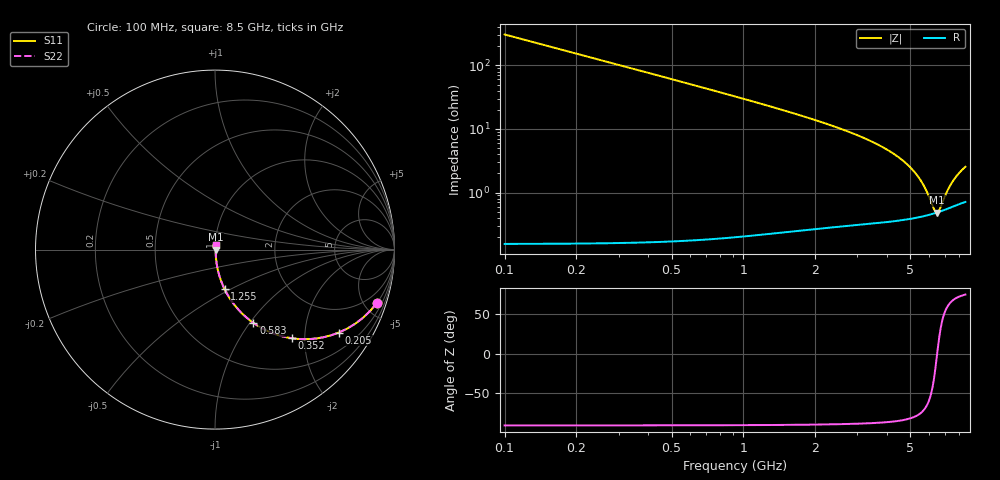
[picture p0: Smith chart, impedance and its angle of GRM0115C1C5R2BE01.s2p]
!Murata Part Number: GRM0115C1C5R2BE01
!These Parameters are Measured in Series Mode Connection
!Data Generated on Mar 30, 2021
!  o--ll--o
!Port1  Port2
!  o------o
!Operation Temp=25[degC], DC Bias Voltage=0[V]
!Freq. Start=100[MHz] Stop=9[GHz] 401[Steps]
# Hz S RI R 50
!Freq.(Hz) S11(Real) S11(Imag) S21(Real) S21(Imag) S12(Real) S12(Imag) S22(Real) S22(Imag)
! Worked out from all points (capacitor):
!   401 points, 100 MHz to 8.5 GHz, reference 50 ohm
!   read as one part in series: C = 5.2 pF near 142 MHz
!   lowest |Z| = 485 mohm at 6.463 GHz (marker M1)
!   series resonance near 6.476 GHz, so ESL is about 120 pH
!   S11 on the Smith chart (normalised r, x): 100 MHz: 1.00, -6.12; 205 MHz: 1.00, -2.98; 352 MHz: 1.00, -1.73; 583 MHz: 1.00, -1.04; 1.255 GHz: 1.00, -0.47; 8.5 GHz: 1.01, +0.05
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1e8  0.9034 -0.2952  0.0966 0.2952  0.0966 0.2952  0.9034 -0.2952
1.42e8  0.8225 -0.3817  0.1775 0.3817  0.1775 0.3817  0.8225 -0.3817
2.05e8  0.6896 -0.4621  0.3104 0.4621  0.3104 0.4621  0.6896 -0.4621
2.68e8  0.565 -0.4951  0.435 0.4951  0.435 0.4951  0.565 -0.4951
3.52e8  0.429 -0.494  0.571 0.494  0.571 0.494  0.429 -0.494
4.57e8  0.3077 -0.4603  0.6923 0.4603  0.6923 0.4603  0.3077 -0.4603
5.83e8  0.2138 -0.4083  0.7862 0.4083  0.7862 0.4083  0.2138 -0.4083
8.56e8  0.1109 -0.3112  0.8891 0.3112  0.8891 0.3112  0.1109 -0.3112
1.255e9  0.0538 -0.2209  0.9462 0.2209  0.9462 0.2209  0.0538 -0.2209
1.507e9  0.0375 -0.1838  0.9625 0.1838  0.9625 0.1838  0.0375 -0.1838
2.095e9  0.0192 -0.1273  0.9808 0.1273  0.9808 0.1273  0.0192 -0.1273
2.914e9  0.00987 -0.0822  0.9901 0.0822  0.9901 0.0822  0.00987 -0.0822
4.3e9  0.00508 -0.0392  0.9949 0.0392  0.9949 0.0392  0.00508 -0.0392
5.119e9  0.00439 -0.0221  0.9956 0.0221  0.9956 0.0221  0.00439 -0.0221
5.707e9  0.00438 -0.0117  0.9956 0.0117  0.9956 0.0117  0.00438 -0.0117
6.274e9  0.00467 -0.00292  0.9953 0.00292  0.9953 0.00292  0.00467 -0.00292
6.463e9  0.00483 -0.000179  0.9952 0.000179  0.9952 0.000179  0.00483 -0.000179
6.631e9  0.00499 0.00218  0.995 -0.00218  0.995 -0.00218  0.00499 0.00218
7.114e9  0.00555 0.00858  0.9944 -0.00858  0.9944 -0.00858  0.00555 0.00858
7.408e9  0.00597 0.0122  0.994 -0.0122  0.994 -0.0122  0.00597 0.0122
7.723e9  0.00645 0.0159  0.9936 -0.0159  0.9936 -0.0159  0.00645 0.0159
8.5e9  0.00764 0.0241  0.9924 -0.0241  0.9924 -0.0241  0.00764 0.0241
